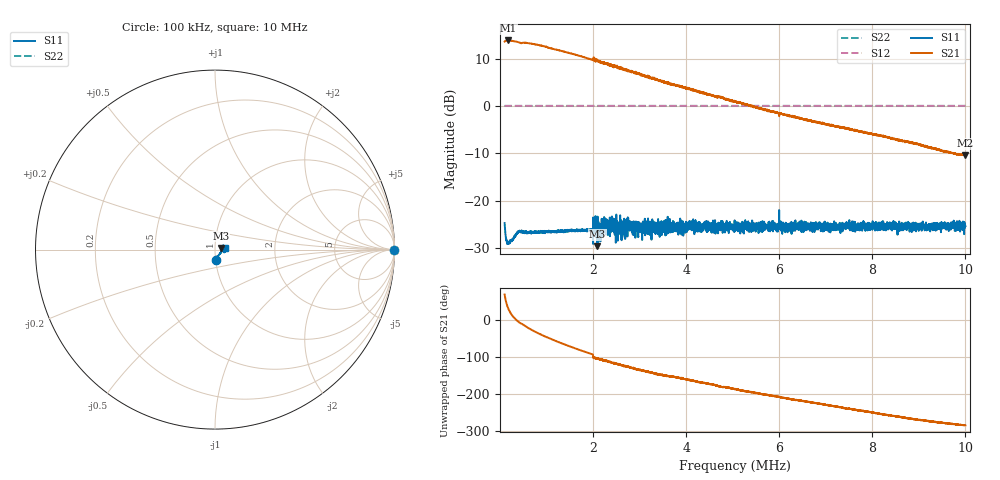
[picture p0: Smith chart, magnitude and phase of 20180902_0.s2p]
! Anritsu VNA Master:  Model: MS2026C/19
! SN:  1815009
! /card0/usr/20180902_0.s2p
! Existing Calibration Information:
! TYPE:  Current Settings,  Active Cal Settings
! TIME:  09/02/2018 12:25:52 PM,  09/02/2018 11:58:48 AM
! INTERNAL TEMP:  52.0 C,  48.8 C
! # POINTS:  4001,  4001
! START FREQ:  100.000 kHz,  100.000 kHz
! STOP FREQ:  10.000 MHz,  10.000 MHz
! SOURCE POWER:  Low,  Low
! IFBW:  500 Hz,  500 Hz
! AVG FACTOR:  5 ,  1
! REF PLANE 1:  0 mm,  0 mm
! REF PLANE 2:  0 mm,  0 mm
! CAL TYPE:  1P2P S11,S21,  1P2P S11,S21
! CAL METHOD:  SOLT,  SOLT
! CAL LINE TYPE:  Coax,  Coax
! DUT PORT 1:  N-Conn(M),  N-Conn(M)
! DUT PORT 2:  N-Conn(M),  N-Conn(M)
! CAL STATUS:  OK: Accuracy High,  --
# GHZ S RI R 50.0
! FREQ.GHZ  S11RE  S11IM  S21RE  S21IM  S12RE  S12IM  S22RE  S22IM
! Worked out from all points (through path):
!   4001 points, 100 kHz to 10 MHz, reference 50 ohm
!   highest |S21| = 13.83 dB at 181.7 kHz (marker M1); lowest = -10.5 dB at 9.988 MHz (marker M2)
!   group delay of S21, straight-line fit = 76.8 ns
!   lowest |S11| = -29.6 dB at 2.095 MHz (marker M3), VSWR 1.07, Z = 53.2 + j1.03 ohm
!   |S11| at or under -10 dB: start of sweep to end of sweep
!   |S22| runs from 0.0 to 0.0 dB; largest |S21 - S12| = 4.5
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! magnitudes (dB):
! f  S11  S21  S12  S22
! 100 kHz  -24.8  13.6  0.0  0.0
! 154.4 kHz  -29.1  13.8  0.0  0.0
! 181.7 kHz  -28.9  13.8  0.0  0.0
! 429.2 kHz  -26.6  13.4  0.0  0.0
! 835.1 kHz  -26.6  12.8  0.0  0.0
! 1.751 MHz  -26.2  10.5  0.0  0.0
! 1.951 MHz  -26.4  9.8  0.0  0.0
! 2.053 MHz  -23.3  9.5  0.0  0.0
! 2.095 MHz  -29.6  9.6  0.0  0.0
! 2.409 MHz  -24.2  8.4  0.0  0.0
! 2.573 MHz  -25.3  8.2  0.0  0.0
! 2.793 MHz  -26.4  7.3  0.0  0.0
! 2.86 MHz  -25.2  7.2  0.0  0.0
! 3.402 MHz  -26.9  5.4  0.0  0.0
! 3.57 MHz  -25.1  4.9  0.0  0.0
! 3.931 MHz  -25.3  4.0  0.0  0.0
! 4.421 MHz  -25.6  2.5  0.0  0.0
! 5.05 MHz  -25.6  0.9  0.0  0.0
! 6.701 MHz  -25.6  -3.2  0.0  0.0
! 8.352 MHz  -25.1  -6.7  0.0  0.0
! 9.988 MHz  -25.4  -10.5  0.0  0.0
! 10 MHz  -25.4  -10.4  0.0  0.0
